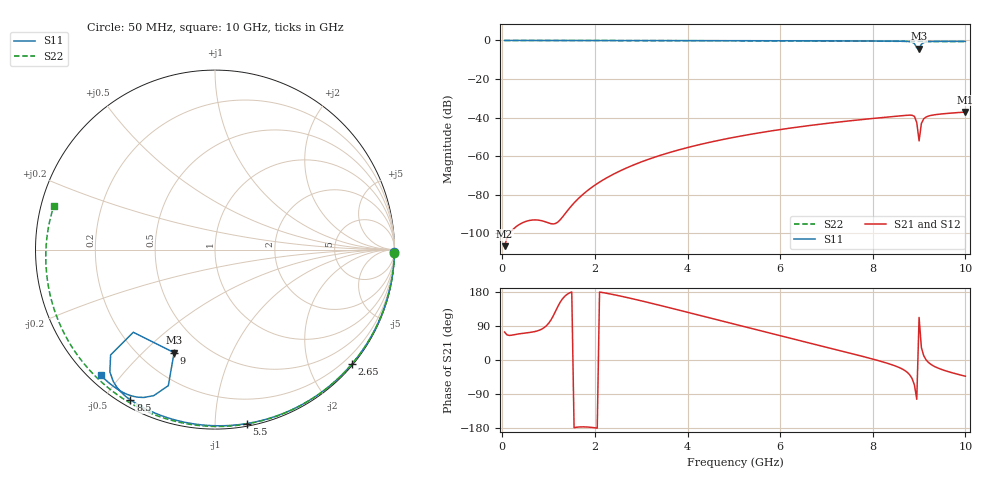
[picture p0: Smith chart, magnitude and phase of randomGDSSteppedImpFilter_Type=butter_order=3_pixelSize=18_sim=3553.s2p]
! freq	dB(S11)	phase(S11)	dB(S12)	phase(S12)
!  dB(S21)	phase(S21)	dB(S22)	phase(S22)
!S-par simulation data
#  GHz  S  DB  R 50
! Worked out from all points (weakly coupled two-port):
!   200 points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, 50 MHz to 10 GHz, reference 50 ohm
!   highest |S21| = -37.10 dB at 10 GHz (marker M1); lowest = -106.6 dB at 50 MHz (marker M2)
!   lowest |S11| = -4.2 dB at 9 GHz (marker M3), VSWR 4.23, Z = 16.8 - j31.2 ohm
!   |S11| at or under -10 dB: nowhere
!   |S22| runs from -0.6 to 0.0 dB; largest |S21 - S12| = 0
!   S11 on the Smith chart (normalised r, x): 50 MHz: open; 2.65 GHz: 0.03, -2.75; 5.5 GHz: 0.02, -1.20; 8.5 GHz: 0.03, -0.58; 9 GHz: 0.34, -0.62; 10 GHz: 0.03, -0.44
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0.05  -0.00 -0.8  -106.57 73.8  -106.57 73.8  -0.00 -1.1
0.85  -0.02 -13.1  -93.39 81.4  -93.39 81.4  -0.02 -18.8
1.75  -0.03 -26.7  -79.54 -176.4  -79.54 -176.4  -0.05 -38.2
2.15  -0.04 -32.6  -72.63 178.3  -72.63 178.3  -0.06 -46.7
2.65  -0.05 -40.0  -66.39 166.1  -66.39 166.1  -0.07 -57.0
3.4  -0.07 -50.8  -59.61 144.3  -59.61 144.3  -0.10 -72.2
4.2  -0.09 -62.0  -54.29 119.8  -54.29 119.8  -0.12 -87.7
5.05  -0.11 -73.6  -49.96 93.4  -49.96 93.4  -0.16 -103.6
5.5  -0.13 -79.6  -48.05 79.5  -48.05 79.5  -0.18 -111.8
6.7  -0.18 -95.1  -43.87 42.8  -43.87 42.8  -0.26 -133.4
8.35  -0.31 -116.8  -39.61 -10.0  -39.61 -10.0  -0.41 -163.0
8.5  -0.35 -119.3  -39.27 -16.4  -39.27 -16.4  -0.43 -165.8
8.75  -0.52 -125.5  -38.74 -33.1  -38.74 -33.1  -0.46 -170.5
8.85  -0.93 -130.7  -38.76 -49.1  -38.76 -49.1  -0.47 -172.4
8.9  -1.66 -134.7  -39.35 -66.3  -39.35 -66.3  -0.48 -173.3
8.95  -3.77 -134.7  -42.55 -103.7  -42.55 -103.7  -0.48 -174.3
9  -4.19 -111.7  -52.03 112.3  -52.03 112.3  -0.49 -175.2
9.05  -1.92 -108.9  -42.96 32.7  -42.96 32.7  -0.49 -176.2
9.1  -1.09 -112.7  -40.60 11.5  -40.60 11.5  -0.50 -177.2
9.15  -0.77 -115.7  -39.68 0.6  -39.68 0.6  -0.51 -178.1
9.4  -0.47 -123.1  -38.29 -20.9  -38.29 -20.9  -0.54 177.0
10  -0.48 -132.2  -37.10 -42.8  -37.10 -42.8  -0.63 164.8
